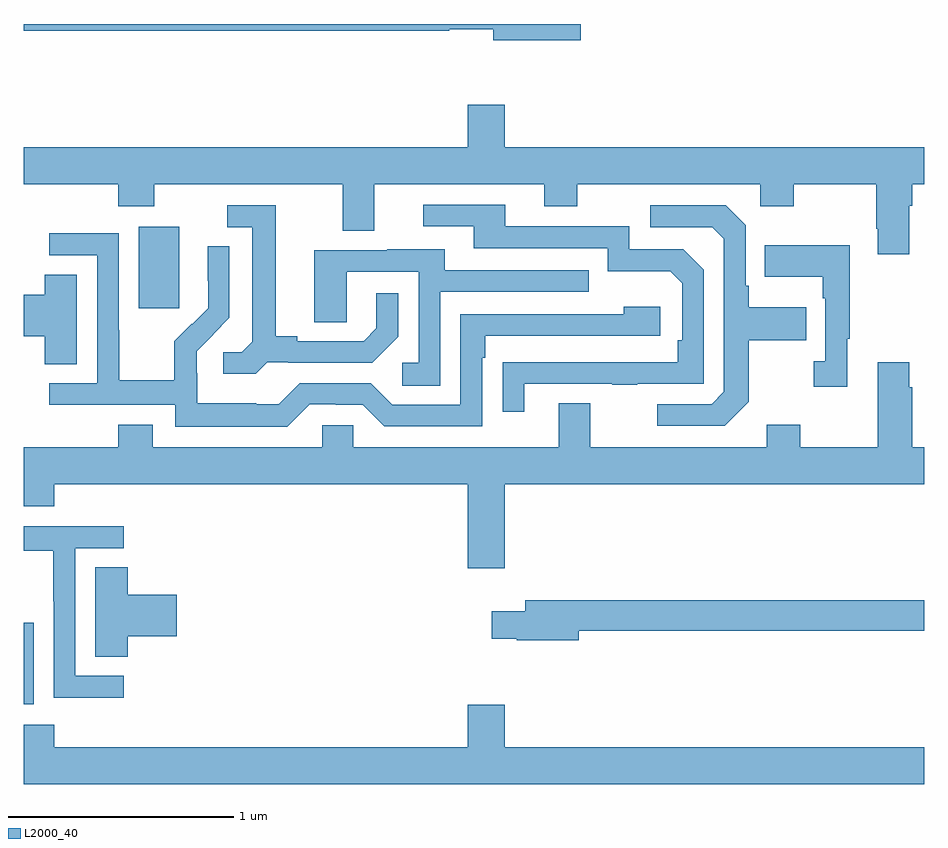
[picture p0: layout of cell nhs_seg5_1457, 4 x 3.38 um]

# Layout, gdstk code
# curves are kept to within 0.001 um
import gdstk
lib = gdstk.Library(unit=1e-6, precision=1e-09)
def R(c, l, rs):  # rectangles x0, y0, x1, y1
    for r in rs: c.add(gdstk.rectangle(r[:2], r[2:], *l))
def P(c, l, *ps):  # polygons
    for p in ps: c.add(gdstk.Polygon(p, *l))
L2000_40 = (2000, 40)

nhs_seg5_1457 = lib.new_cell('nhs_seg5_1457')
R(nhs_seg5_1457, L2000_40, [(199,859.778,199.045,860.139), (199.511,861.537,199.69,861.898)])
P(nhs_seg5_1457, L2000_40, [(201.475,862.799),(199,862.799),(199,862.768),(200.89,862.768),(200.89,862.776),(201.086,862.776),(201.086,862.726),(201.475,862.726)],
  [(202.933,861.992),(202.946,861.992),(202.946,862.088),(203,862.088),(203,862.252),(201.136,862.252),(201.136,862.441),(200.972,862.441),(200.972,862.252),(199,862.252),(199,862.088),(199.421,862.088),(199.421,861.989),(199.581,861.989),(199.581,862.088),(200.417,862.088),(200.417,861.88),(200.557,861.88),(200.557,862.088),(201.311,862.088),(201.311,861.989),(201.459,861.989),(201.459,862.088),(202.272,862.088),(202.272,861.989),(202.419,861.989),(202.419,862.088),(202.786,862.088),(202.786,861.889),(202.793,861.889),(202.793,861.777),(202.933,861.777)],
  [(201.223,861.201),(201.613,861.201),(201.613,861.196),(201.725,861.196),(201.725,861.201),(202.02,861.201),(202.02,861.708),(201.93,861.798),(201.69,861.798),(201.69,861.9),(201.139,861.9),(201.139,861.996),(200.775,861.996),(200.775,861.9),(200.999,861.9),(200.999,861.804),(201.594,861.804),(201.594,861.701),(201.871,861.701),(201.924,861.648),(201.924,861.394),(201.904,861.394),(201.904,861.297),(201.127,861.296),(201.127,861.078),(201.223,861.078)],
  [(200.082,861.297),(200.176,861.297),(200.176,861.294),(200.548,861.294),(200.664,861.41),(200.664,861.604),(200.567,861.604),(200.567,861.447),(200.51,861.39),(200.215,861.39),(200.215,861.413),(200.119,861.413),(200.119,861.993),(199.905,861.993),(199.905,861.897),(200.015,861.897),(200.015,861.389),(199.968,861.342),(199.887,861.342),(199.887,861.245),(200.03,861.245)],
  [(202.219,861.121),(202.219,861.394),(202.475,861.394),(202.475,861.541),(202.219,861.541),(202.219,861.637),(202.206,861.637),(202.206,861.906),(202.119,861.993),(201.783,861.993),(201.783,861.897),(202.059,861.897),(202.11,861.846),(202.11,861.165),(202.056,861.111),(201.813,861.111),(201.813,861.015),(202.113,861.015)],
  [(200.271,861.111),(200.387,861.111),(200.387,861.108),(200.505,861.108),(200.601,861.012),(201.036,861.012),(201.036,861.317),(201.049,861.317),(201.049,861.414),(201.826,861.414),(201.826,861.544),(201.665,861.544),(201.665,861.51),(200.94,861.51),(200.94,861.108),(200.637,861.108),(200.541,861.204),(200.226,861.204),(200.133,861.111),(200.033,861.111),(200.033,861.115),(199.77,861.115),(199.77,861.249),(199.768,861.249),(199.768,861.346),(199.914,861.494),(199.914,861.812),(199.818,861.812),(199.818,861.658),(199.82,861.658),(199.82,861.536),(199.749,861.465),(199.746,861.468),(199.669,861.391),(199.669,861.217),(199.425,861.217),(199.425,861.44),(199.422,861.44),(199.422,861.87),(199.113,861.87),(199.113,861.771),(199.326,861.771),(199.326,861.204),(199.113,861.204),(199.113,861.108),(199.674,861.108),(199.674,861.011),(200.171,861.011)],
  [(202.657,861.401),(202.669,861.401),(202.669,861.817),(202.291,861.817),(202.291,861.677),(202.548,861.677),(202.548,861.581),(202.56,861.581),(202.56,861.302),(202.509,861.302),(202.509,861.189),(202.657,861.189)],
  [(200.85,861.609),(201.509,861.609),(201.509,861.705),(200.869,861.705),(200.869,861.799),(200.615,861.799),(200.615,861.795),(200.291,861.795),(200.291,861.475),(200.436,861.475),(200.436,861.699),(200.754,861.699),(200.754,861.294),(200.682,861.294),(200.682,861.193),(200.85,861.193)],
  [(199.237,861.686),(199.094,861.686),(199.094,861.596),(199,861.596),(199,861.413),(199.094,861.413),(199.094,861.289),(199.237,861.289)],
  [(199.421,861.019),(199.421,860.92),(199,860.92),(199,860.657),(199.136,860.657),(199.136,860.756),(200.972,860.756),(200.972,860.382),(201.136,860.382),(201.136,860.756),(203,860.756),(203,860.92),(202.946,860.92),(202.946,861.185),(202.933,861.185),(202.933,861.298),(202.793,861.298),(202.793,860.92),(202.449,860.92),(202.449,861.019),(202.301,861.019),(202.301,860.92),(201.517,860.92),(201.517,861.115),(201.377,861.115),(201.377,860.92),(200.463,860.92),(200.463,861.018),(200.325,861.018),(200.325,860.92),(199.573,860.92),(199.573,861.019)],
  [(199.444,859.905),(199.23,859.905),(199.23,860.472),(199.444,860.472),(199.444,860.568),(199,860.568),(199,860.46),(199.132,860.46),(199.132,860.236),(199.134,860.236),(199.134,859.807),(199.444,859.807)],
  [(199.463,860.081),(199.681,860.081),(199.681,860.264),(199.463,860.264),(199.463,860.387),(199.319,860.387),(199.319,859.99),(199.463,859.99)],
  [(201.466,860.104),(203,860.104),(203,860.24),(201.227,860.24),(201.227,860.191),(201.078,860.191),(201.078,860.069),(201.19,860.069),(201.19,860.062),(201.466,860.062)],
  [(203,859.588),(201.136,859.588),(201.136,859.777),(200.972,859.777),(200.972,859.588),(199.136,859.588),(199.136,859.687),(199,859.687),(199,859.424),(203,859.424)])

lib.write_gds('nhs_seg5_1457.gds')
